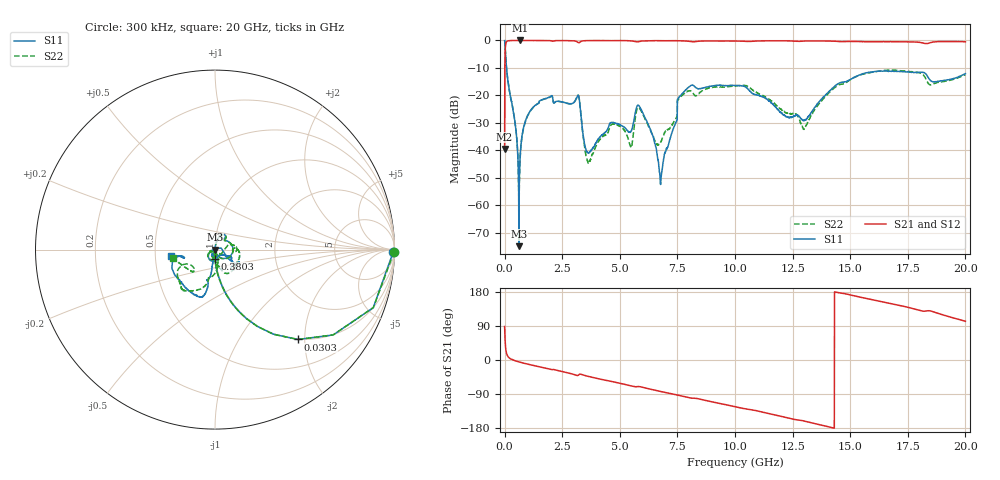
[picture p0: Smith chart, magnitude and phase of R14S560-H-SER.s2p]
!{R14S560}
!Johanson Technology Inc.
!www.johansontechnology.com
!Test Board Conditions:
!Substrate Type  RO4350B
!Substrate Thickness  20 mil
!Substrate Dk  3.66
!TL Type: GCPW
!TL Trace Width  36 mil
!TL Gap  12 mil
!Electrode orientation  Horizontal
!DUT TOPOLOGY	SERIES
!Mounting Pad LxW  26x36 mil
! Created Wed Nov 25 17:33:21 2020
! 2 Port Network Data from SP1.SP block
! freq  magS11  angS11  magS21  angS21  magS12  angS12  magS22  angS22
# khz S ma R 50
! decimated to every 10th point (10 MHz spacing) of the original 1 MHz Johanson file; values unchanged
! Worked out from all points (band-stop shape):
!   2001 points, 300 kHz to 20 GHz, reference 50 ohm
!   highest |S21| = 0.00 dB at 670.3 MHz (marker M1); lowest = -39.5 dB at 300 kHz (marker M2)
!   |S21| within 3 dB of the highest: 28.96 MHz to end of sweep
!   lowest |S11| = -74.8 dB at 620.3 MHz (marker M3), VSWR 1.00, Z = 50 - j0.0169 ohm
!   |S11| at or under -10 dB: 83.51 MHz to end of sweep
!   |S22| runs from -62.5 to 0.0 dB; largest |S21 - S12| = 0.017
!   S11 on the Smith chart (normalised r, x): 300 kHz: open; 30.3 MHz: 0.99, -1.85; 380.3 MHz: 0.99, -0.10; 20 GHz: 0.60, -0.05
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300  0.9928 -0.8  0.01062 88.4  0.01057 88.9  0.9976 -0.7
30300  0.6812 -47.3  0.7298 42.8  0.7311 42.7  0.6823 -47.2
110300  0.2422 -76.8  0.9699 13.1  0.9692 13.0  0.2429 -76.9
380300  0.05051 -90.2  0.998 -0.1  0.998 -0.2  0.05095 -90.1
620300  0.0001815 -68.9  0.9994 -5.0  0.9999 -5.1  0.0007513 -118.5
670300  0.007043 83.1  1 -5.9  0.9992 -5.9  0.006787 84.3
920300  0.03588 80.5  0.9992 -9.7  0.9988 -9.8  0.03543 79.9
1600300  0.08261 72.2  0.9951 -19.2  0.9957 -19.2  0.08215 68.9
3160300  0.09731 15.1  0.9389 -40.9  0.9396 -40.9  0.09788 12.4
3340300  0.03381 -66.3  0.9696 -38.1  0.9694 -38.1  0.03314 -70.2
3660300  0.009036 -79.4  0.9944 -43.7  0.9948 -43.7  0.006264 -116.2
4680300  0.03194 -119.0  0.9913 -57.1  0.9913 -57.1  0.03015 -156.6
5480300  0.02206 -92.7  0.9839 -68.3  0.9834 -68.3  0.01174 -126.0
5830300  0.06528 -114.3  0.954 -70.1  0.9541 -70.1  0.06019 -123.7
6670300  0.006487 168.6  0.9923 -81.6  0.992 -81.6  0.01286 -103.7
6820300  0.003946 62.5  0.99 -83.7  0.991 -83.7  0.01542 -73.9
7850300  0.1251 -36.3  0.9769 -97.4  0.9775 -97.4  0.1142 10.7
1.00003e7  0.1523 -26.9  0.9778 -123.2  0.9784 -123.2  0.1488 -44.9
1.29703e7  0.03535 -117.1  0.9728 -160.6  0.9741 -160.6  0.02444 -97.8
1.33403e7  0.05143 -101.3  0.9819 -166.0  0.9844 -166.0  0.04506 -71.7
1.66703e7  0.2741 -112.0  0.9492 150.2  0.9425 150.0  0.2889 -128.2
2e7  0.2493 -171.2  0.9456 102.2  0.9455 102.4  0.2401 -169.4
